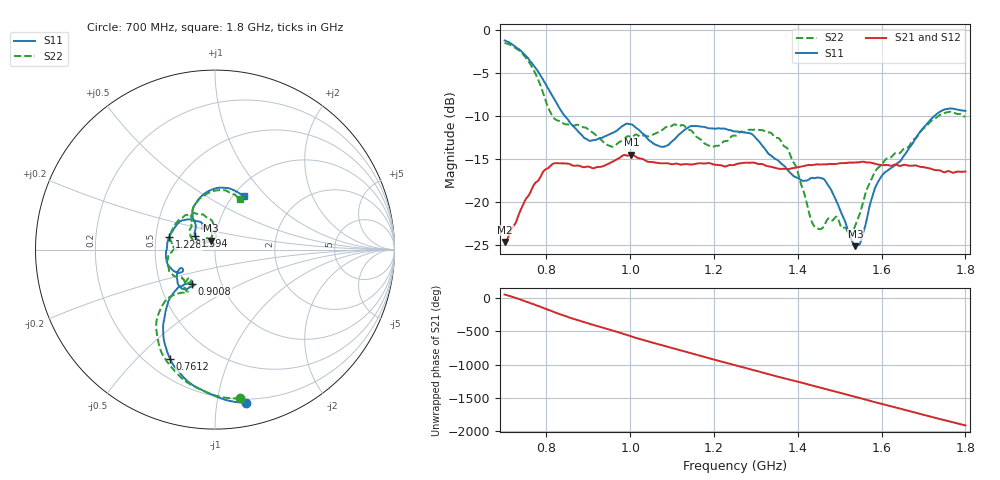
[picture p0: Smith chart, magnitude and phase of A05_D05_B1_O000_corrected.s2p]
! Created with skrf 1.9.0 (http://scikit-rf.org).
# Hz S RI R 50.0
!freq ReS11 ImS11 ReS21 ImS21 ReS12 ImS12 ReS22 ImS22
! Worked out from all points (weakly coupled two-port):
!   1601 points, 700 MHz to 1.8 GHz, reference 50 ohm
!   highest |S21| = -14.50 dB at 1.002 GHz (marker M1); lowest = -24.6 dB at 701.4 MHz (marker M2)
!   lowest |S11| = -25.1 dB at 1.537 GHz (marker M3), VSWR 1.12, Z = 47.4 + j4.73 ohm
!   |S11| at or under -10 dB: 843.9 MHz to 1.726 GHz (882.1 MHz wide, 68.7 % of centre)
!   |S22| runs from -24.0 to -1.5 dB; largest |S21 - S12| = 0.0035
!   S11 on the Smith chart (normalised r, x): 700 MHz: 0.17, -1.21; 761.2 MHz: 0.29, -0.63; 900.8 MHz: 0.73, -0.29; 1.228 GHz: 0.59, +0.09; 1.594 GHz: 0.79, +0.12; 1.8 GHz: 1.13, +0.75
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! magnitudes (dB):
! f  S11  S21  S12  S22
! 700 MHz  -1.2  -24.6  -24.4  -1.5
! 701.4 MHz  -1.2  -24.6  -24.2  -1.5
! 761.2 MHz  -3.6  -18.9  -18.8  -3.9
! 816.9 MHz  -7.9  -15.5  -15.6  -10.2
! 883.6 MHz  -12.2  -15.9  -15.8  -11.2
! 900.8 MHz  -12.8  -15.9  -15.9  -11.6
! 955.1 MHz  -12.0  -15.4  -15.4  -13.5
! 1.002 GHz  -11.0  -14.5  -14.6  -12.4
! 1.067 GHz  -13.5  -15.5  -15.4  -11.9
! 1.145 GHz  -11.2  -15.6  -15.6  -11.7
! 1.228 GHz  -11.5  -15.9  -15.8  -12.9
! 1.25 GHz  -11.8  -15.7  -15.6  -12.3
! 1.357 GHz  -15.4  -16.1  -16.1  -12.7
! 1.396 GHz  -17.1  -16.0  -16.0  -15.9
! 1.434 GHz  -17.2  -15.7  -15.7  -22.3
! 1.473 GHz  -18.1  -15.6  -15.6  -21.9
! 1.524 GHz  -24.0  -15.4  -15.4  -23.9
! 1.537 GHz  -25.1  -15.4  -15.4  -22.7
! 1.594 GHz  -17.5  -15.7  -15.6  -15.9
! 1.617 GHz  -16.2  -15.7  -15.7  -14.9
! 1.733 GHz  -9.7  -16.3  -16.3  -10.1
! 1.8 GHz  -9.4  -16.5  -16.4  -10.1
